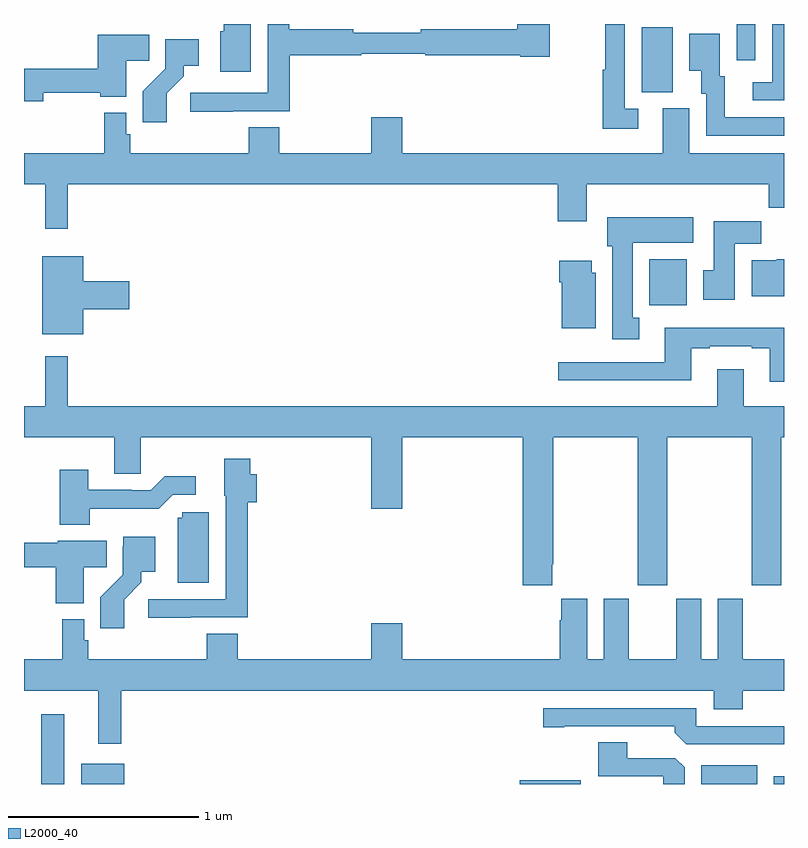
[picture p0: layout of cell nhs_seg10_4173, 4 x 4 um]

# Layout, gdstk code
import gdstk
lib = gdstk.Library(unit=1e-6, precision=1e-09)
def R(c, l, rs):  # rectangles x0, y0, x1, y1
    for r in rs: c.add(gdstk.rectangle(r[:2], r[2:], *l))
def P(c, l, *ps):  # polygons
    for p in ps: c.add(gdstk.Polygon(p, *l))
L2000_40 = (2000, 40)

nhs_seg10_4173 = lib.new_cell('nhs_seg10_4173')
R(nhs_seg10_4173, L2000_40, [(343.092,1290.5,343.213,1290.868), (343.301,1290.5,343.528,1290.607), (345.608,1290.5,345.931,1290.52), (346.565,1290.5,346.858,1290.598), (346.946,1290.5,347,1290.541), (346.292,1293.02,346.489,1293.262), (346.25,1294.141,346.414,1294.484), (346.752,1294.308,346.848,1294.5)])
P(nhs_seg10_4173, L2000_40, [(347,1294.5),(346.938,1294.5),(346.938,1294.194),(346.836,1294.194),(346.836,1294.098),(347,1294.098)],
  [(344.194,1294.5),(344.052,1294.5),(344.052,1294.461),(344.033,1294.461),(344.033,1294.248),(344.194,1294.248)],
  [(346.234,1294.053),(346.161,1294.053),(346.161,1294.5),(346.06,1294.5),(346.06,1294.26),(346.045,1294.26),(346.045,1293.948),(346.234,1293.948)],
  [(344.099,1294.041),(344.399,1294.041),(344.399,1294.336),(344.776,1294.336),(344.776,1294.344),(345.112,1294.344),(345.112,1294.336),(345.612,1294.336),(345.612,1294.328),(345.766,1294.328),(345.766,1294.5),(345.596,1294.5),(345.596,1294.472),(345.088,1294.472),(345.088,1294.453),(344.732,1294.453),(344.732,1294.472),(344.395,1294.472),(344.395,1294.5),(344.283,1294.5),(344.283,1294.137),(343.875,1294.137),(343.875,1294.039),(344.099,1294.039)],
  [(347,1294.008),(346.687,1294.008),(346.687,1294.224),(346.663,1294.224),(346.663,1294.45),(346.502,1294.45),(346.502,1294.253),(346.565,1294.253),(346.565,1294.134),(346.59,1294.134),(346.59,1293.912),(347,1293.912)],
  [(343.102,1294.137),(343.4,1294.137),(343.4,1294.118),(343.537,1294.118),(343.537,1294.306),(343.658,1294.306),(343.658,1294.444),(343.388,1294.444),(343.388,1294.265),(343,1294.265),(343,1294.094),(343.102,1294.094)],
  [(343.75,1294.135),(343.84,1294.225),(343.84,1294.28),(343.921,1294.28),(343.921,1294.42),(343.743,1294.42),(343.743,1294.265),(343.624,1294.146),(343.624,1293.984),(343.75,1293.984)],
  [(343.229,1293.656),(345.809,1293.656),(345.809,1293.462),(345.961,1293.462),(345.961,1293.656),(346.921,1293.656),(346.921,1293.532),(347,1293.532),(347,1293.82),(346.501,1293.82),(346.501,1294.056),(346.361,1294.056),(346.361,1293.82),(344.992,1293.82),(344.992,1294.009),(344.828,1294.009),(344.828,1293.82),(344.343,1293.82),(344.343,1293.956),(344.183,1293.956),(344.183,1293.82),(343.559,1293.82),(343.559,1293.921),(343.539,1293.921),(343.539,1294.033),(343.423,1294.033),(343.423,1293.82),(343,1293.82),(343,1293.656),(343.112,1293.656),(343.112,1293.423),(343.229,1293.423)],
  [(346.237,1292.954),(346.204,1292.954),(346.204,1293.35),(346.522,1293.35),(346.522,1293.484),(346.07,1293.484),(346.07,1293.33),(346.097,1293.33),(346.097,1292.841),(346.237,1292.841)],
  [(346.741,1293.344),(346.88,1293.344),(346.88,1293.463),(346.631,1293.463),(346.631,1293.204),(346.574,1293.204),(346.574,1293.048),(346.741,1293.048)],
  [(343.312,1292.999),(343.555,1292.999),(343.555,1293.146),(343.312,1293.146),(343.312,1293.277),(343.097,1293.277),(343.097,1292.867),(343.312,1292.867)],
  [(347,1293.262),(346.962,1293.262),(346.962,1293.256),(346.829,1293.256),(346.829,1293.068),(347,1293.068)],
  [(346.009,1293.192),(345.988,1293.192),(345.988,1293.253),(345.818,1293.253),(345.818,1293.14),(345.83,1293.14),(345.83,1292.9),(346.009,1292.9)],
  [(347,1292.902),(346.373,1292.902),(346.373,1292.721),(345.813,1292.721),(345.813,1292.624),(346.513,1292.624),(346.513,1292.793),(346.609,1292.793),(346.609,1292.805),(346.829,1292.805),(346.829,1292.793),(346.925,1292.793),(346.925,1292.616),(347,1292.616)],
  [(345.781,1291.657),(345.786,1291.657),(345.786,1292.324),(346.231,1292.324),(346.231,1291.545),(346.386,1291.545),(346.386,1292.324),(346.831,1292.324),(346.831,1291.545),(346.986,1291.545),(346.986,1292.324),(347,1292.324),(347,1292.488),(346.789,1292.488),(346.789,1292.683),(346.649,1292.683),(346.649,1292.488),(343.229,1292.488),(343.229,1292.752),(343.112,1292.752),(343.112,1292.488),(343,1292.488),(343,1292.324),(343.475,1292.324),(343.475,1292.134),(343.614,1292.134),(343.614,1292.324),(344.828,1292.324),(344.828,1291.95),(344.992,1291.95),(344.992,1292.324),(345.626,1292.324),(345.626,1291.545),(345.781,1291.545)],
  [(343.877,1291.377),(344.177,1291.377),(344.177,1291.982),(344.225,1291.982),(344.225,1292.13),(344.19,1292.13),(344.19,1292.212),(344.054,1292.212),(344.054,1292.016),(344.061,1292.016),(344.061,1291.473),(343.653,1291.473),(343.653,1291.375),(343.877,1291.375)],
  [(343.347,1291.95),(343.709,1291.95),(343.782,1292.022),(343.903,1292.022),(343.903,1292.119),(343.741,1292.119),(343.668,1292.046),(343.568,1292.046),(343.568,1292.049),(343.339,1292.049),(343.339,1292.155),(343.187,1292.155),(343.187,1291.865),(343.347,1291.865)],
  [(343.972,1291.929),(343.833,1291.929),(343.833,1291.902),(343.808,1291.902),(343.808,1291.558),(343.972,1291.558)],
  [(343.528,1291.471),(343.618,1291.561),(343.618,1291.616),(343.69,1291.616),(343.69,1291.801),(343.523,1291.801),(343.523,1291.752),(343.521,1291.752),(343.521,1291.601),(343.402,1291.482),(343.402,1291.32),(343.528,1291.32)],
  [(343.315,1291.642),(343.436,1291.642),(343.436,1291.78),(343.178,1291.78),(343.178,1291.769),(343,1291.769),(343,1291.641),(343.166,1291.641),(343.166,1291.451),(343.315,1291.451)],
  [(343.337,1291.257),(343.317,1291.257),(343.317,1291.366),(343.201,1291.366),(343.201,1291.156),(343,1291.156),(343,1290.992),(343.391,1290.992),(343.391,1290.711),(343.513,1290.711),(343.513,1290.992),(346.631,1290.992),(346.631,1290.893),(346.784,1290.893),(346.784,1290.992),(347,1290.992),(347,1291.156),(346.783,1291.156),(346.783,1291.474),(346.652,1291.474),(346.652,1291.156),(346.564,1291.156),(346.564,1291.474),(346.433,1291.474),(346.433,1291.156),(346.183,1291.156),(346.183,1291.474),(346.052,1291.474),(346.052,1291.156),(345.964,1291.156),(345.964,1291.474),(345.827,1291.474),(345.827,1291.361),(345.821,1291.361),(345.821,1291.156),(344.992,1291.156),(344.992,1291.345),(344.828,1291.345),(344.828,1291.156),(344.126,1291.156),(344.126,1291.292),(343.961,1291.292),(343.961,1291.156),(343.337,1291.156)],
  [(347,1290.804),(346.539,1290.804),(346.539,1290.9),(345.732,1290.9),(345.732,1290.799),(345.844,1290.799),(345.844,1290.804),(346.424,1290.804),(346.424,1290.77),(346.485,1290.708),(347,1290.708)],
  [(346.477,1290.587),(346.428,1290.636),(346.174,1290.636),(346.174,1290.719),(346.022,1290.719),(346.022,1290.54),(346.365,1290.54),(346.365,1290.5),(346.477,1290.5)])

lib.write_gds('nhs_seg10_4173.gds')
